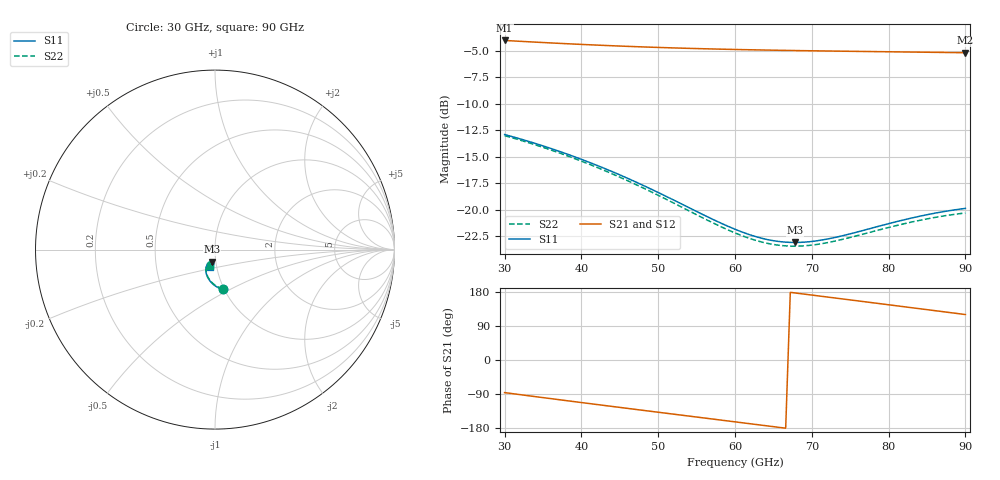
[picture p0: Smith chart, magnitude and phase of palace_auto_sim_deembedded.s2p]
! Created with skrf 1.11.0 (http://scikit-rf.org).
# GHz S DB R 50.0
!freq dBS11 angS11 dBS21 angS21 dBS12 angS12 dBS22 angS22
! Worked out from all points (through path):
!   101 points, 30 GHz to 90 GHz, reference 50 ohm
!   highest |S21| = -4.05 dB at 30 GHz (marker M1); lowest = -5.2 dB at 90 GHz (marker M2)
!   group delay of S21, straight-line fit = 7.1 ps
!   lowest |S11| = -23.1 dB at 67.8 GHz (marker M3), VSWR 1.15, Z = 47.9 - j6.56 ohm
!   |S11| at or under -10 dB: start of sweep to end of sweep
!   |S22| runs from -23.4 to -13.0 dB; largest |S21 - S12| = 7.1e-14
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30  -12.91 -79.1  -4.05 -86.0  -4.05 -86.0  -13.02 -79.1
32.4  -13.40 -84.7  -4.15 -92.4  -4.15 -92.4  -13.52 -84.6
34.8  -13.94 -90.0  -4.24 -98.7  -4.24 -98.7  -14.07 -90.0
37.2  -14.52 -95.0  -4.33 -105.0  -4.33 -105.0  -14.67 -95.0
40.2  -15.30 -100.9  -4.43 -112.8  -4.43 -112.8  -15.48 -100.9
42.6  -15.98 -105.1  -4.51 -119.0  -4.51 -119.0  -16.18 -105.2
45.6  -16.90 -109.7  -4.60 -126.6  -4.60 -126.6  -17.12 -109.8
50.4  -18.51 -115.2  -4.72 -138.9  -4.72 -138.9  -18.78 -115.3
55.2  -20.23 -117.4  -4.82 -151.0  -4.82 -151.0  -20.54 -117.5
57.6  -21.07 -116.9  -4.86 -157.1  -4.86 -157.1  -21.40 -117.0
60  -21.83 -115.2  -4.90 -163.2  -4.90 -163.2  -22.18 -115.2
62.4  -22.46 -112.4  -4.94 -169.3  -4.94 -169.3  -22.81 -112.4
64.2  -22.80 -109.7  -4.96 -173.9  -4.96 -173.9  -23.16 -109.7
66  -23.01 -106.8  -4.98 -178.4  -4.98 -178.4  -23.36 -106.7
67.8  -23.08 -103.8  -5.00 177.0  -5.00 177.0  -23.43 -103.7
70.2  -22.97 -100.2  -5.03 170.9  -5.03 170.9  -23.31 -100.2
72.6  -22.67 -97.5  -5.05 164.7  -5.05 164.7  -23.01 -97.7
75  -22.26 -95.8  -5.07 158.6  -5.07 158.6  -22.61 -96.2
77.4  -21.81 -95.2  -5.10 152.4  -5.10 152.4  -22.16 -95.8
80.4  -21.23 -95.9  -5.12 144.7  -5.12 144.7  -21.60 -96.6
85.2  -20.44 -99.2  -5.17 132.4  -5.17 132.4  -20.83 -100.4
90  -19.87 -104.5  -5.21 120.0  -5.21 120.0  -20.30 -106.0
